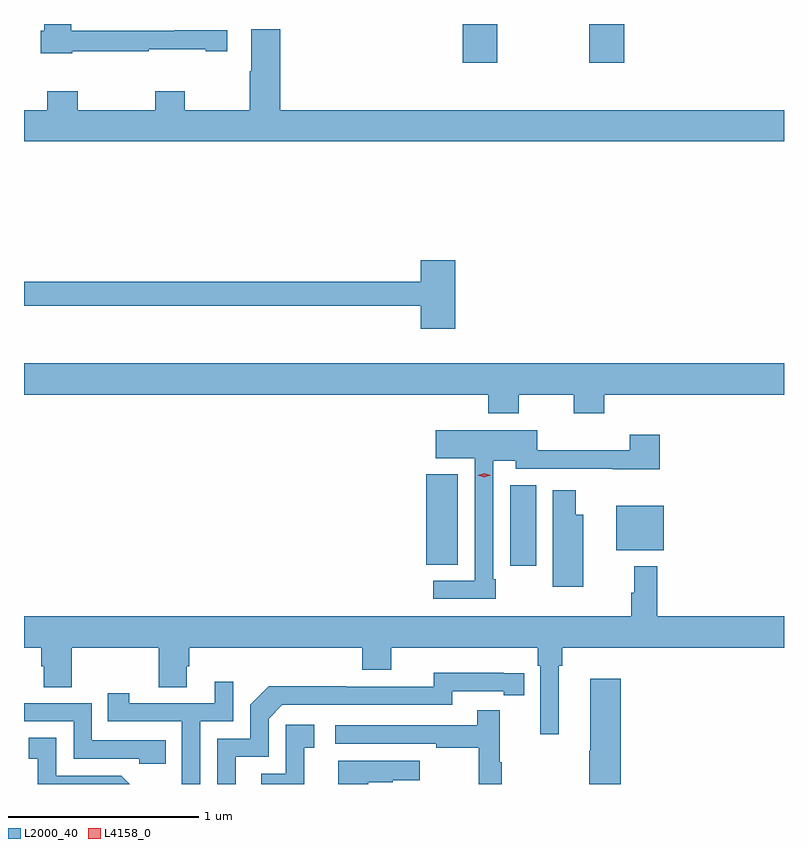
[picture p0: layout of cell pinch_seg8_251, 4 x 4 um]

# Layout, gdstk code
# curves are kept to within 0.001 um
import gdstk
lib = gdstk.Library(unit=1e-6, precision=1e-09)
def R(c, l, rs):  # rectangles x0, y0, x1, y1
    for r in rs: c.add(gdstk.rectangle(r[:2], r[2:], *l))
def P(c, l, *ps):  # polygons
    for p in ps: c.add(gdstk.Polygon(p, *l))
L2000_40 = (2000, 40)
L4158_0 = (4158, 0)

pinch_seg8_251 = lib.new_cell('pinch_seg8_251')
R(pinch_seg8_251, L2000_40, [(767.867,1103.61,768.004,1104.035), (767.426,1103.617,767.593,1104.091), (768.425,1103.693,768.676,1103.926), (767.618,1106.259,767.801,1106.462), (768.284,1106.259,768.467,1106.462)])
P(pinch_seg8_251, L2000_40, [(765.564,1106.319),(765.965,1106.319),(765.965,1106.329),(766.265,1106.329),(766.265,1106.319),(766.378,1106.319),(766.378,1106.429),(766.102,1106.429),(766.102,1106.427),(765.558,1106.427),(765.558,1106.462),(765.416,1106.462),(765.416,1106.427),(765.398,1106.427),(765.398,1106.309),(765.564,1106.309)],
  [(769.309,1106.008),(766.658,1106.008),(766.658,1106.434),(766.505,1106.434),(766.505,1106.213),(766.498,1106.213),(766.498,1106.008),(766.155,1106.008),(766.155,1106.107),(766,1106.107),(766,1106.008),(765.591,1106.008),(765.591,1106.107),(765.431,1106.107),(765.431,1106.008),(765.309,1106.008),(765.309,1105.844),(769.309,1105.844)],
  [(767.579,1105.219),(767.396,1105.219),(767.396,1105.106),(765.309,1105.106),(765.309,1104.978),(767.396,1104.978),(767.396,1104.858),(767.579,1104.858)],
  [(767.913,1104.512),(768.202,1104.512),(768.202,1104.413),(768.362,1104.413),(768.362,1104.512),(769.309,1104.512),(769.309,1104.676),(765.309,1104.676),(765.309,1104.512),(767.753,1104.512),(767.753,1104.413),(767.913,1104.413)],
  [(767.791,1103.539),(767.778,1103.539),(767.778,1104.164),(767.897,1104.164),(767.897,1104.12),(768.407,1104.12),(768.407,1104.119),(768.656,1104.119),(768.656,1104.301),(768.496,1104.301),(768.496,1104.218),(768.01,1104.218),(768.01,1104.325),(767.475,1104.325),(767.475,1104.176),(767.682,1104.176),(767.682,1103.532),(767.463,1103.532),(767.463,1103.436),(767.791,1103.436)],
  [(768.253,1103.878),(768.214,1103.878),(768.214,1104.007),(768.092,1104.007),(768.092,1103.501),(768.253,1103.501)],
  [(765.309,1103.18),(765.401,1103.18),(765.401,1103.082),(765.413,1103.082),(765.413,1102.972),(765.561,1102.972),(765.561,1103.18),(766.018,1103.18),(766.018,1102.972),(766.165,1102.972),(766.165,1103.082),(766.178,1103.082),(766.178,1103.18),(767.09,1103.18),(767.09,1103.063),(767.242,1103.063),(767.242,1103.18),(768.014,1103.18),(768.014,1103.084),(768.027,1103.084),(768.027,1102.725),(768.124,1102.725),(768.124,1103.084),(768.143,1103.084),(768.143,1103.18),(769.309,1103.18),(769.309,1103.344),(768.641,1103.344),(768.641,1103.608),(768.52,1103.608),(768.52,1103.468),(768.505,1103.468),(768.505,1103.344),(765.309,1103.344)],
  [(766.423,1102.605),(766.596,1102.605),(766.596,1102.806),(766.668,1102.878),(767.562,1102.878),(767.562,1102.95),(767.834,1102.95),(767.834,1102.93),(767.942,1102.93),(767.942,1103.046),(767.466,1103.047),(767.466,1102.974),(767.006,1102.974),(767.006,1102.976),(766.598,1102.976),(766.5,1102.878),(766.5,1102.701),(766.326,1102.701),(766.326,1102.462),(766.423,1102.462)],
  [(768.449,1103.017),(768.29,1103.017),(768.29,1102.637),(768.283,1102.637),(768.283,1102.462),(768.449,1102.462)],
  [(766.236,1102.791),(766.41,1102.791),(766.41,1102.999),(766.313,1102.999),(766.313,1102.887),(765.862,1102.887),(765.862,1102.939),(765.751,1102.939),(765.751,1102.791),(766.14,1102.791),(766.14,1102.462),(766.236,1102.462)],
  [(766.055,1102.692),(765.666,1102.692),(765.666,1102.887),(765.309,1102.887),(765.309,1102.791),(765.57,1102.791),(765.57,1102.596),(765.915,1102.596),(765.915,1102.569),(766.055,1102.569)],
  [(767.824,1102.577),(767.813,1102.577),(767.813,1102.849),(767.695,1102.849),(767.695,1102.77),(766.947,1102.77),(766.947,1102.674),(767.479,1102.674),(767.479,1102.654),(767.703,1102.654),(767.703,1102.462),(767.824,1102.462)],
  [(766.784,1102.653),(766.837,1102.653),(766.837,1102.774),(766.686,1102.774),(766.686,1102.515),(766.557,1102.515),(766.557,1102.462),(766.784,1102.462)],
  [(765.822,1102.506),(765.48,1102.506),(765.48,1102.705),(765.333,1102.705),(765.333,1102.595),(765.382,1102.595),(765.382,1102.462),(765.866,1102.462)],
  [(767.122,1102.471),(767.249,1102.471),(767.249,1102.481),(767.392,1102.481),(767.392,1102.585),(766.964,1102.585),(766.964,1102.462),(767.122,1102.462)])
P(pinch_seg8_251, L4158_0, [(767.731,1104.077),(767.696,1104.086),(767.696,1104.087),(767.696,1104.087),(767.731,1104.097),(767.766,1104.087),(767.766,1104.087),(767.766,1104.086)])

lib.write_gds('pinch_seg8_251.gds')
